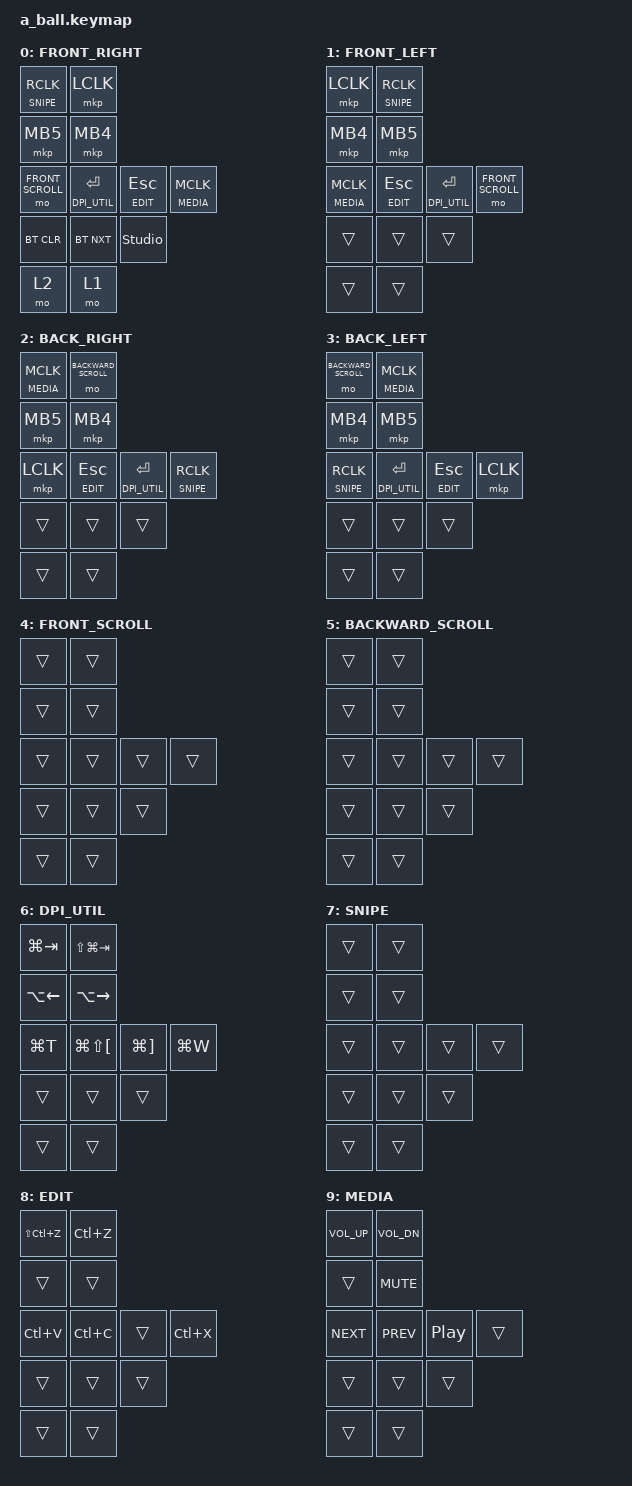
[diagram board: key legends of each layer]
#include <behaviors.dtsi>
#include <dt-bindings/zmk/keys.h>
#include <dt-bindings/zmk/bt.h>
//#include <dt-bindings/zmk/mouse.h>
#include <dt-bindings/zmk/outputs.h>
#include <dt-bindings/zmk/mouse.h>
#include <dt-bindings/zmk/ext_power.h>
//#include <behaviors/mouse_keys.dtsi>
//#include <input/processors.dtsi>


// Label re-defined: Fingers - Front, Thumb - Backwards

#define FRONT_RIGHT 0
#define FRONT_LEFT 1
#define BACK_RIGHT 2
#define BACK_LEFT 3
#define FRONT_SCROLL 4
#define BACKWARD_SCROLL 5
#define DPI_UTIL 6
#define SNIPE 7
#define EDIT 8
#define MEDIA 9

// Mouse speed increased
#define ZMK_POINTING_DEFAULT_MOVE_VAL 1000  // default: 600
#define ZMK_POINTING_DEFAULT_SCRL_VAL 15    // default: 10
//#include <dt-bindings/zmk/pointing.h>

/ {
    
    behaviors {
        mouse_layer_tap: mouse_layer_tap {
            compatible = "zmk,behavior-hold-tap";
            label = "MOUSE_LAYER_TAP";
            #binding-cells = <2>;
            flavor = "tap-preferred";
            tapping-term-ms = <200>;
            quick-tap-ms = <125>;
            bindings = <&mo>, <&mkp>;
        };
    };

keymap {
        compatible = "zmk,keymap";

//        map = <
//   		 RC(0,2)    			     	RC(0,5)
//		 RC(0,1)	/* Ball */	        RC(0,4)
//	         RC(0,0)    RC(0,12)	RC(0,11)        RC(0,3)
//                   /* Buttons on top of the middle deck */
//  		       /*  BTReset BTSelect Unlock  */ 
//                          RC(0,8) RC(0,7)  RC(0,6)        
//               /* Slider switches on the bottom of the middle deck */
//		/* Orientation (Front/Backwards)   Handiness L/R     */
//                       RC(0,10)        	     RC(0,9)              
//        >;

// &mkp LCLK &mkp MCLK &mkp RCLK  &none

// Layer 0
FRONT_RIGHT {
    bindings = <
        /* Bottom row: physical right, physical left */
        &mouse_layer_tap SNIPE RCLK   &mkp LCLK

        /* Middle row: physical left, physical right */
        &mkp MB5                      &mkp MB4

        /* Top row: physical right, second, third, physical left */
        &mo FRONT_SCROLL              &lt DPI_UTIL ENTER      &lt EDIT ESC      &mouse_layer_tap MEDIA MCLK

        /* Inner buttons - stock */
        &bt BT_CLR                    &bt BT_NXT             &studio_unlock

        /* Orientation / handedness - stock */
        &mo 2                         &mo 1
    >;
};

// Layer 1
FRONT_LEFT {
    bindings = <
        /* Bottom row: mirror of layer 0 */
        &mkp LCLK                     &mouse_layer_tap SNIPE RCLK

        /* Middle row: mirror of layer 0 */
        &mkp MB4                      &mkp MB5

        /* Top row: mirror of layer 0 */
        &mouse_layer_tap MEDIA MCLK   &lt EDIT ESC            &lt DPI_UTIL ENTER   &mo FRONT_SCROLL

        /* Inner buttons */
        &trans                        &trans                 &trans

        /* Orientation / handedness */
        &trans                        &trans
    >;
};

// Layer 2
BACK_RIGHT {
    bindings = <
        &mouse_layer_tap MEDIA MCLK   &mo BACKWARD_SCROLL

        &mkp MB5                      &mkp MB4

        &mkp LCLK                     &lt EDIT ESC            &lt DPI_UTIL ENTER   &mouse_layer_tap SNIPE RCLK

        /* Inner buttons */
        &trans                        &trans                 &trans

        /* Orientation / handedness */
        &trans                        &trans
    >;
};

// Layer 3
BACK_LEFT {
    bindings = <
        &mo BACKWARD_SCROLL           &mouse_layer_tap MEDIA MCLK

        &mkp MB4                      &mkp MB5

        &mouse_layer_tap SNIPE RCLK   &lt DPI_UTIL ENTER      &lt EDIT ESC      &mkp LCLK

        /* Inner buttons */
        &trans                        &trans                 &trans

        /* Orientation / handedness */
        &trans                        &trans
    >;
};
 
//   		 RC(0,5)    			    RC(0,2) 
//		 RC(0,4)	/* Ball */	    RC(0,1)
//	         RC(0,3)    RC(0,12)	RC(0,11)    RC(0,0) 
//                   /* Buttons on top of the middle deck */
//  		       /*  BTReset BTSelect Unlock  */ 
//                          RC(0,8) RC(0,7)  RC(0,6)        
//               /* Slider switches on the bottom of the middle deck */                                                         /
//		/* Orientation (Front/Backward)   Handiness L/R     */
//                       RC(0,10)        	     RC(0,9)              

	// Scroll layers do nothing by themselves, it is completely transparent.
	// It is detected in trackball_listener telling to switch from the pointing movement to scrolling.
	// Need separate layers for orientation to implement 
 	// Layers 4, 5
/* 4 */ FRONT_SCROLL  	    {bindings = <&trans &trans &trans &trans &trans &trans &trans &trans &trans &trans &trans &trans &trans>;};
/* 5 */ BACKWARD_SCROLL     {bindings = <&trans &trans &trans &trans &trans &trans &trans &trans &trans &trans &trans &trans &trans>;};

/* 6 */ DPI_UTIL {
    bindings = <
        /* Bottom row: physical right, physical left */
        &kp LG(TAB)       &kp LS(LG(TAB))

        /* Middle row: physical left, physical right */
        &kp LA(LEFT)      &kp LA(RIGHT)

        /* Top row: physical right, second from left, third from left, physical left */
        &kp LG(T)         &kp LG(LS(LBKT))   &kp LG(RBKT)   &kp LG(W)

        /* Inner Buttons - keep dedicated */
        &trans            &trans             &trans

        /* Orientation / handedness - keep dedicated */
        &trans            &trans
    >;
};

/* 7 */ SNIPE {
    bindings = <
        &trans &trans
        &trans &trans
        &trans &trans &trans &trans

        /* Inner Buttons - keep dedicated */
        &trans &trans &trans

        /* Orientation / handedness - keep dedicated */
        &trans &trans
    >;
};

/* 8 */ EDIT {
    bindings = <
        /* Bottom row: physical right, physical left */
        &kp LS(LC(Z))   &kp LC(Z)

        /* Middle row */
        &trans          &trans

        /* Top row: physical right, second, third, physical left */
        &kp LC(V)       &kp LC(C)       &trans       &kp LC(X)

        /* Inner buttons - keep dedicated */
        &trans          &trans          &trans

        /* Orientation / handedness - keep dedicated */
        &trans          &trans
    >;
};

/* 9 */ MEDIA {
    bindings = <
        /* Bottom row: physical right, physical left */
        &kp C_VOL_UP   &kp C_VOL_DN

        /* Middle row: physical left, physical right */
        &trans         &kp C_MUTE

        /* Top row: physical right, second from left, third from left, physical left */
        &kp C_NEXT     &kp C_PREV     &kp C_PP      &trans

        /* Inner Buttons - keep dedicated */
        &trans         &trans         &trans

        /* Orientation / handedness - keep dedicated */
        &trans         &trans
    >;
};

extra5 {status = "reserved";};
extra6 {status = "reserved";};
extra7 {status = "reserved";};
extra8 {status = "reserved";};

     };

    conditional_layers {
        compatible = "zmk,conditional-layers";
        tri_layer {
            if-layers = <FRONT_LEFT BACK_RIGHT>;
            then-layer = <BACK_LEFT>;
        };
    };

};
